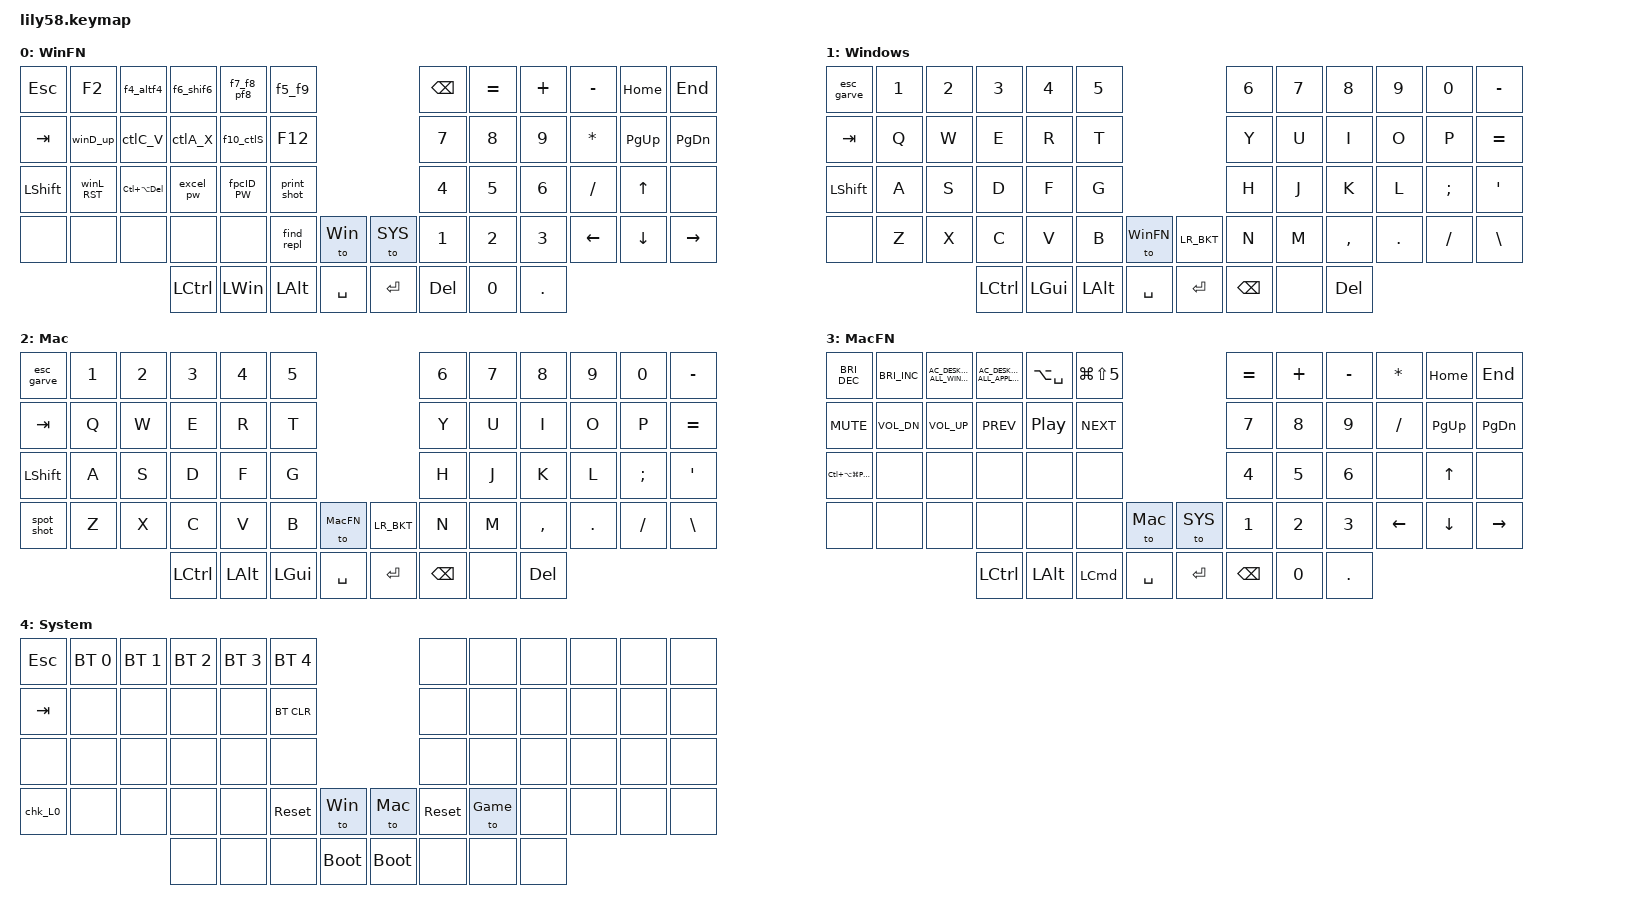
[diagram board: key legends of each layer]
/*
 * Copyright (c) 2020 The ZMK Contributors
 *
 * SPDX-License-Identifier: MIT
 */

#include <behaviors.dtsi>
#include <dt-bindings/zmk/keys.h>
#include <dt-bindings/zmk/bt.h>
#include <dt-bindings/zmk/ext_power.h>

// Layers

#define WinFN       0
#define Win         1
#define Mac         2
#define MacFN       3
#define SYS         4

/ {
    behaviors {
        spot_shot: spot_shot {
            compatible = "zmk,behavior-tap-dance";
            #binding-cells = <0>;
            bindings = <&kp LA(SPACE)>, <&kp LG(LS(NUMBER_4))>;

            label = "SPOT_SHOT";
        };

        LR_BKT: LR_BKT {
            compatible = "zmk,behavior-tap-dance";
            #binding-cells = <0>;
            bindings = <&kp LBKT>, <&kp RBKT>;

            label = "LR_BKT";
        };

        f4_altf4: f4_altf4 {
            compatible = "zmk,behavior-tap-dance";
            #binding-cells = <0>;
            bindings = <&kp F4>, <&kp LA(F4)>;

            label = "F4_ALTF4";
        };

        esc_garve: esc_garve {
            compatible = "zmk,behavior-tap-dance";
            #binding-cells = <0>;
            bindings = <&kp ESC>, <&kp GRAVE>;

            label = "ESC_GARVE";
        };

        f7_f8_pf8: f7_f8_pf8 {
            compatible = "zmk,behavior-tap-dance";
            #binding-cells = <0>;
            bindings = <&kp F7>, <&kp F8>, <&kp LS(F8)>;

            label = "F7_F8_PF8";
        };

        print_shot: print_shot {
            compatible = "zmk,behavior-tap-dance";
            #binding-cells = <0>;
            bindings = <&kp LC(P)>, <&kp LG(LS(S))>;

            label = "PRINT_SHOT";
        };

        f5_f9: f5_f9 {
            compatible = "zmk,behavior-tap-dance";
            #binding-cells = <0>;
            bindings = <&kp F5>, <&kp F9>;

            label = "F5_F9";
        };

        fpcID_PW: fpcID_PW {
            compatible = "zmk,behavior-tap-dance";
            #binding-cells = <0>;
            bindings = <&fpc_id>, <&fpc_pw>;

            label = "FPCID_PW";
        };

        winD_up: winD_up {
            compatible = "zmk,behavior-tap-dance";
            #binding-cells = <0>;
            bindings = <&kp LG(D)>, <&kp LG(UP_ARROW)>;

            label = "WIND_UP";
        };

        f6_shif6: f6_shif6 {
            compatible = "zmk,behavior-tap-dance";
            #binding-cells = <0>;
            bindings = <&kp F6>, <&kp LS(F6)>;

            label = "F6_SHIF6";
        };

        f10_ctlS: f10_ctlS {
            compatible = "zmk,behavior-tap-dance";
            #binding-cells = <0>;
            bindings = <&kp F10>, <&kp LC(S)>;

            label = "F10_CTLS";
        };

        winL_RST: winL_RST {
            compatible = "zmk,behavior-tap-dance";
            #binding-cells = <0>;
            bindings = <&kp LG(L)>, <&win_rst>;

            label = "WINL_RST";
        };

        ctlC_V: ctlC_V {
            compatible = "zmk,behavior-tap-dance";
            #binding-cells = <0>;
            bindings = <&kp LC(C)>, <&kp LC(V)>;

            label = "CTLC_V";
        };

        ctlA_X: ctlA_X {
            compatible = "zmk,behavior-tap-dance";
            #binding-cells = <0>;
            bindings = <&kp LC(A)>, <&kp LC(X)>;

            label = "CTLA_X";
        };

        find_repl: find_repl {
            compatible = "zmk,behavior-tap-dance";
            #binding-cells = <0>;
            bindings = <&kp LC(F)>, <&kp LC(H)>;

            label = "FIND_REPL";
        };
    };

    macros {
        fpc_id: fpc_id {
            compatible = "zmk,behavior-macro";
            #binding-cells = <0>;
            wait-ms = <0>;
            tap-ms = <0>;
            bindings =
                <&macro_tap>,
                <&kp LS(N) &kp N0 &kp N0 &kp N0 &kp N1 &kp N1 &kp N7 &kp N0 &kp N5 &kp N4 &kp TAB>;

            label = "FPC_ID";
        };

        fpc_pw: fpc_pw {
            compatible = "zmk,behavior-macro";
            #binding-cells = <0>;
            wait-ms = <0>;
            tap-ms = <0>;
            bindings =
                <&macro_tap>,
                <&kp N2 &kp N5 &kp N8 &kp N7 &kp N3 &kp N6 &kp N9 &kp N0 &kp LS(A) &kp A &kp ENTER>;

            label = "FPC_PW";
        };

        excel_pw: excel_pw {
            compatible = "zmk,behavior-macro";
            #binding-cells = <0>;
            wait-ms = <0>;
            tap-ms = <0>;
            bindings =
                <&macro_tap>,
                <&kp N8 &kp N0 &kp N7 &kp N8 &kp N6 &kp N7 &kp ENTER>;

            label = "EXCEL_PW";
        };

        chk_L0: chk_L0 {
            compatible = "zmk,behavior-macro";
            #binding-cells = <0>;
            wait-ms = <0>;
            tap-ms = <0>;
            bindings = <&macro_tap>, <&kp T &kp E &kp S &kp T>;

            label = "CHK_L0";
        };

        win_rst: win_restart {
            compatible = "zmk,behavior-macro";
            #binding-cells = <0>;
            wait-ms = <0>;
            tap-ms = <0>;
            bindings =
                <&macro_press>,
                <&kp LWIN>,
                <&macro_tap>,
                <&kp X>,
                <&macro_release>,
                <&kp LWIN>,
                <&macro_pause_for_release>,
                <&macro_tap>,
                <&kp U>,
                <&macro_tap>,
                <&kp R>;

            label = "WIN_RESTART";
        };
    };

    keymap {
        compatible = "zmk,keymap";

        win_fn_layer {
            display-name = "WinFN";
            label = "WinFN";
            bindings = <
&kp ESC         &kp F2     &f4_altf4        &f6_shif6  &f7_f8_pf8  &f5_f9                                &kp BACKSPACE  &kp EQUAL  &kp PLUS  &kp MINUS  &kp HOME   &kp END
&kp TAB         &winD_up   &ctlC_V          &ctlA_X    &f10_ctlS   &kp F12                               &kp N7         &kp N8     &kp N9    &kp ASTRK  &kp PG_UP  &kp PG_DN
&kp LEFT_SHIFT  &winL_RST  &kp LC(LA(DEL))  &excel_pw  &fpcID_PW   &print_shot                           &kp N4         &kp N5     &kp N6    &kp SLASH  &kp UP     &none
&none           &none      &none            &none      &none       &find_repl    &to Win      &to SYS    &kp N1         &kp N2     &kp N3    &kp LEFT   &kp DOWN   &kp RIGHT
                                            &kp LCTRL  &kp LWIN    &kp LEFT_ALT  &kp SPACE    &kp ENTER  &kp DELETE     &kp N0     &kp DOT
            >;
        };

        win_layer {
            display-name = "Windows";
            label = "Win";
            bindings = <
&esc_garve      &kp N1  &kp N2  &kp N3     &kp N4    &kp N5                              &kp N6         &kp N7  &kp N8     &kp N9   &kp N0         &kp MINUS
&kp TAB         &kp Q   &kp W   &kp E      &kp R     &kp T                               &kp Y          &kp U   &kp I      &kp O    &kp P          &kp EQUAL
&kp LEFT_SHIFT  &kp A   &kp S   &kp D      &kp F     &kp G                               &kp H          &kp J   &kp K      &kp L    &kp SEMICOLON  &kp SQT
&none           &kp Z   &kp X   &kp C      &kp V     &kp B         &to WinFN    &LR_BKT  &kp N          &kp M   &kp COMMA  &kp DOT  &kp FSLH       &kp BACKSLASH
                                &kp LCTRL  &kp LGUI  &kp LEFT_ALT  &kp SPACE    &kp RET  &kp BACKSPACE  &none   &kp DEL
            >;
        };

        mac_layer {
            display-name = "Mac";
            label = "Mac";
            bindings = <
&esc_garve      &kp N1  &kp N2  &kp N3     &kp N4    &kp N5                          &kp N6         &kp N7  &kp N8      &kp N9   &kp N0    &kp MINUS
&kp TAB         &kp Q   &kp W   &kp E      &kp R     &kp T                           &kp Y          &kp U   &kp I       &kp O    &kp P     &kp EQUAL
&kp LEFT_SHIFT  &kp A   &kp S   &kp D      &kp F     &kp G                           &kp H          &kp J   &kp K       &kp L    &kp SEMI  &kp SQT
&spot_shot      &kp Z   &kp X   &kp C      &kp V     &kp B     &to MacFN    &LR_BKT  &kp N          &kp M   &kp COMMA   &kp DOT  &kp FSLH  &kp BACKSLASH
                                &kp LCTRL  &kp LALT  &kp LGUI  &kp SPACE    &kp RET  &kp BACKSPACE  &none   &kp DELETE
            >;
        };

        mac_fn_layer {
            display-name = "MacFN";
            label = "MacFN";
            bindings = <
&kp C_BRIGHTNESS_DEC     &kp C_BRIGHTNESS_INC  &kp C_AC_DESKTOP_SHOW_ALL_WINDOWS  &kp C_AC_DESKTOP_SHOW_ALL_APPLICATIONS  &kp LA(SPACE)  &kp LG(LS(N5))                           &kp EQUAL      &kp PLUS  &kp MINUS  &kp ASTRK  &kp HOME   &kp END
&kp C_MUTE               &kp C_VOL_DN          &kp C_VOL_UP                       &kp C_PREV                              &kp C_PP       &kp C_NEXT                               &kp N7         &kp N8    &kp N9     &kp SLASH  &kp PG_UP  &kp PG_DN
&kp LC(LA(LG(K_POWER)))  &none                 &none                              &none                                   &none          &none                                    &kp N4         &kp N5    &kp N6     &none      &kp UP     &none
&none                    &none                 &none                              &none                                   &none          &none           &to Mac      &to SYS     &kp N1         &kp N2    &kp N3     &kp LEFT   &kp DOWN   &kp RIGHT
                                                                                  &kp LCTRL                               &kp LEFT_ALT   &kp LCMD        &kp SPACE    &kp RETURN  &kp BACKSPACE  &kp N0    &kp DOT
            >;
        };

        SYS_layer {
            display-name = "System";
            label = "System";
            bindings = <
&kp ESC  &bt BT_SEL 0  &bt BT_SEL 1  &bt BT_SEL 2  &bt BT_SEL 3  &bt BT_SEL 4                              &none       &none     &none  &none  &none  &none
&kp TAB  &none         &none         &none         &none         &bt BT_CLR                                &none       &none     &none  &none  &none  &none
&none    &none         &none         &none         &none         &none                                     &none       &none     &none  &none  &none  &none
&chk_L0  &none         &none         &none         &none         &sys_reset    &to Win        &to Mac      &sys_reset  &to Game  &none  &none  &none  &none
                                     &none         &none         &none         &bootloader    &bootloader  &none       &none     &none
            >;
        };
    };
};
